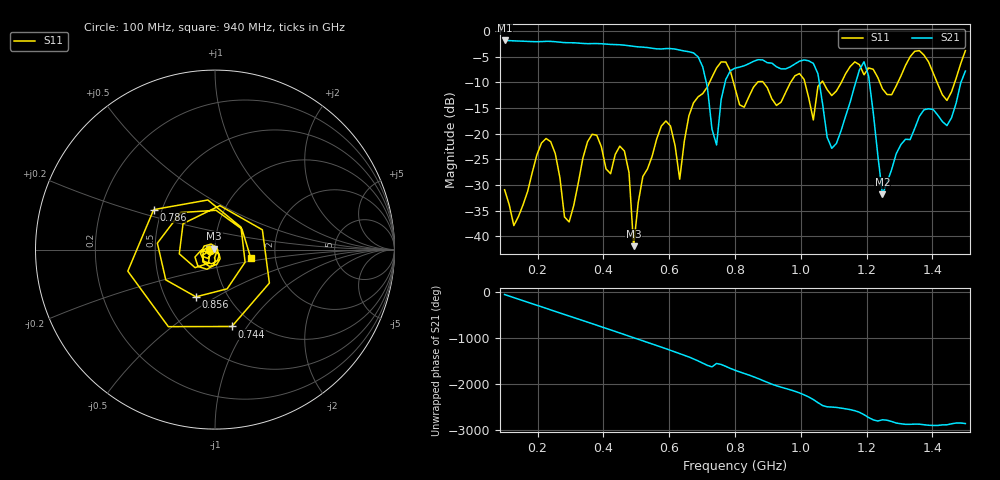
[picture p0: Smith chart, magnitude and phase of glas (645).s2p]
! NanoVNA-App
! Date: 2025-09-25 16:00:30
! Start: 100MHz Stop: 1,5GHz Points: 101
! S-Parameter data: F S11 S21 S12 S22
# Hz S RI R 50
!  Frequency  S11_Real  S11_Imag  S21_Real  S21_Imag  S12_Real  S12_Imag  S22_Real  S22_Imag
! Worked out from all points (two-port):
!   101 points, 100 MHz to 1.5 GHz, reference 50 ohm
!   highest |S21| = -1.80 dB at 100 MHz (marker M1); lowest = -31.8 dB at 1.248 GHz (marker M2)
!   |S21| within 3 dB of the highest: start of sweep to 684.2 MHz
!   lowest |S11| = -41.9 dB at 492 MHz (marker M3), VSWR 1.02, Z = 49.5 + j0.606 ohm
!   |S11| at or under -10 dB: start of sweep to 722.4 MHz; 795.4 MHz to 868 MHz (72.62 MHz wide, 8.73 % of centre); 886.2 MHz to 968.7 MHz (82.52 MHz wide, 8.9 % of centre) (the widest 3 of 7)
!   S12 and S22 are empty: the file has one direction only
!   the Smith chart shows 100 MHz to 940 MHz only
!   S11 on the Smith chart (normalised r, x): 100 MHz: 0.95, -0.01; 744 MHz: 0.80, -0.85; 786 MHz: 0.45, +0.24; 856 MHz: 0.71, -0.41; 940 MHz: 1.49, -0.14
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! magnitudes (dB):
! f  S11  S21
! 100 MHz  -30.9  -1.8
! 128 MHz  -37.9  -1.9
! 226 MHz  -20.9  -2.0
! 296 MHz  -37.2  -2.2
! 338 MHz  -24.7  -2.4
! 464 MHz  -23.4  -2.7
! 492 MHz  -41.9  -2.9
! 576 MHz  -18.5  -3.5
! 632 MHz  -28.9  -3.7
! 702 MHz  -12.2  -7.0
! 744 MHz  -7.2  -22.2
! 786 MHz  -7.8  -7.7
! 800 MHz  -11.1  -7.2
! 856 MHz  -10.9  -5.9
! 940 MHz  -13.8  -7.3
! 1.038 GHz  -17.3  -6.3
! 1.094 GHz  -12.5  -22.8
! 1.192 GHz  -8.5  -6.0
! 1.248 GHz  -11.2  -31.8
! 1.276 GHz  -12.4  -27.0
! 1.444 GHz  -13.5  -18.4
! 1.5 GHz  -3.8  -7.8
